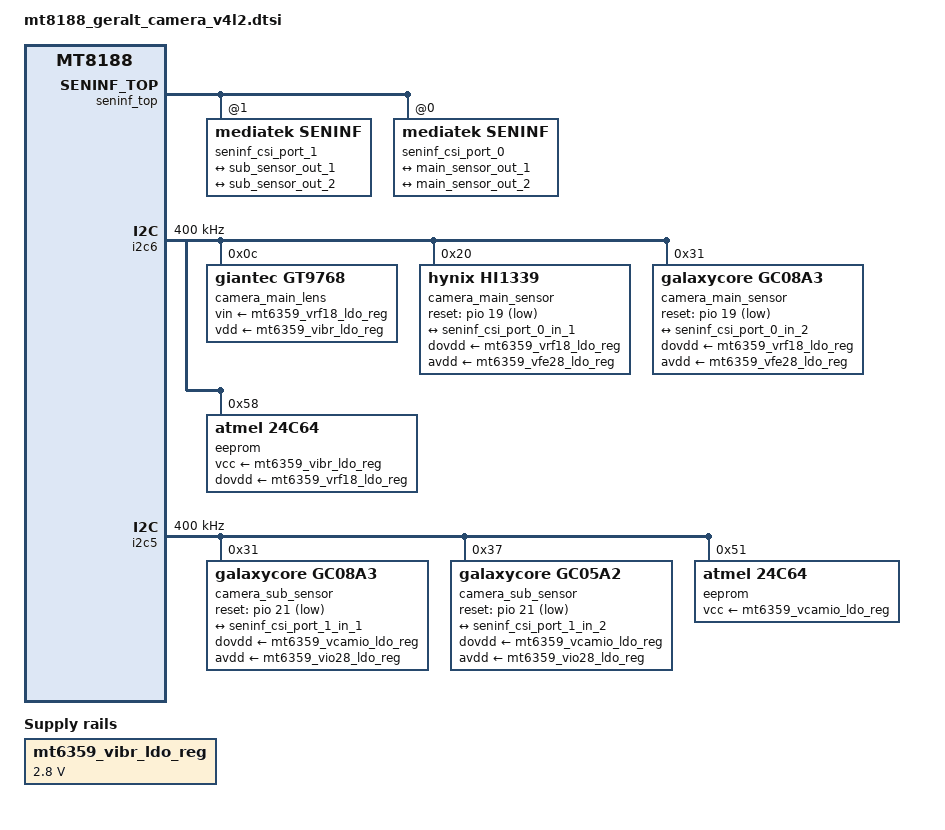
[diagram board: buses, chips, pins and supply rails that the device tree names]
// SPDX-License-Identifier: GPL-2.0
/* Copyright (c) 2020 MediaTek Inc. */

//#include <dt-bindings/clock/mt8188-clk.h>
#include <dt-bindings/gpio/gpio.h>

#define V4L2_FWNODE_BUS_TYPE_CSI2_CPHY 1
#define V4L2_FWNODE_BUS_TYPE_CSI2_DPHY 4

#define HI1339_GT9768  1
#define GC08A3_GT9769  0

&seninf_top {
		seninf_csi_port_1: csi_receiver@1 {
			compatible = "mediatek,seninf";
			hs_trail_parameter = <0x28>;
			csi-port = "1";
			port {
				seninf_csi_port_1_in_1: endpoint {
					data-lanes = <1 2 3 4>;
					remote-endpoint = <&sub_sensor_out_1>;
				};
				seninf_csi_port_1_in_2: endpoint@2 {
					data-lanes = <1 4>;
					remote-endpoint = <&sub_sensor_out_2>;
				};
			};
		};
		seninf_csi_port_0: csi_receiver@0 {
			compatible = "mediatek,seninf";
			csi-port = "0";
			port {
				seninf_csi_port_0_in_1: endpoint {
					data-lanes = <1 2 3 4>;
					remote-endpoint = <&main_sensor_out_1>;
				};
				seninf_csi_port_0_in_2: endpoint@2 {
					data-lanes = <1 2 3 4>;
					remote-endpoint = <&main_sensor_out_2>;
				};
			};
		};
};

&pio {
	camera_pins_cam1: cam1@1 {
		pins_cmd_dat {
			pinmux = <PINMUX_GPIO23__FUNC_O_CMMCLK1>;
			drive-strength = <MTK_DRIVE_2mA>;
		};
		pins_dvdd_en {
			pinmux = <PINMUX_GPIO140__FUNC_B_GPIO140>;
			output-high;
		};
	};

	camera_pins_cam0: cam0@0 {
		pins_cmd_dat {
			pinmux = <PINMUX_GPIO22__FUNC_O_CMMCLK0>;
			drive-strength = <MTK_DRIVE_2mA>;
		};
		pins_dvdd_en {
			pinmux = <PINMUX_GPIO142__FUNC_B_GPIO142>;
			output-high;
		};
	};
};

&mt6359_vibr_ldo_reg {
	regulator-min-microvolt = <2800000>;
	regulator-max-microvolt = <2800000>;
};

&i2c6 {
	status = "okay";
	clock-frequency = <400000>;

    //================================================
#if HI1339_GT9768
	camera_main_lens: vcm@0c {
		compatible = "giantec,gt9768";
		reg = <0x0c>;

		vin-supply = <&mt6359_vrf18_ldo_reg>;
		vdd-supply = <&mt6359_vibr_ldo_reg>;
	};
#endif

	camera_main_sensor@20 {
		compatible = "hynix,hi1339";
		reg = <0x20>;

		clocks = <&topckgen CLK_TOP_CAMTG>;

		reset-gpios = <&pio 19 GPIO_ACTIVE_LOW>;

		pinctrl-names = "default";
		pinctrl-0 = <&camera_pins_cam0>;

		dovdd-supply = <&mt6359_vrf18_ldo_reg>;
		avdd-supply = <&mt6359_vfe28_ldo_reg>;

#if HI1339_GT9768
		lens-focus = <&camera_main_lens>;
#endif

		port {
			main_sensor_out_1: endpoint {
				bus-type = <V4L2_FWNODE_BUS_TYPE_CSI2_DPHY>;
				data-lanes = <1 2 3 4>;
				link-frequencies =
					/bits/ 64 <1440000000 624000000>;
				remote-endpoint = <&seninf_csi_port_0_in_1>;
			};
		};
	};
    //================================================

    //================================================
#if GC08A3_GT9769
	camera_main_lens: vcm@0c {
		compatible = "giantec,gt9769";
		reg = <0x0c>;

		vin-supply = <&mt6359_vrf18_ldo_reg>;
		vdd-supply = <&mt6359_vibr_ldo_reg>;
	};
#endif

	camera_main_sensor@31 {
		compatible = "galaxycore,gc08a3";
		reg = <0x31>;

		clocks = <&topckgen CLK_TOP_CAMTG>;

		reset-gpios = <&pio 19 GPIO_ACTIVE_LOW>;

		pinctrl-names = "default";
		pinctrl-0 = <&camera_pins_cam0>;

		dovdd-supply = <&mt6359_vrf18_ldo_reg>;
		avdd-supply = <&mt6359_vfe28_ldo_reg>;

#if GC08A3_GT9769
		lens-focus = <&camera_main_lens>;
#endif
		port {
			main_sensor_out_2: endpoint {
				bus-type = <V4L2_FWNODE_BUS_TYPE_CSI2_DPHY>;
				data-lanes = <1 2 3 4>;
				link-frequencies =
					/bits/ 64 <336000000 207000000>;
				remote-endpoint = <&seninf_csi_port_0_in_2>;
			};
		};
	};
    //================================================

	eeprom@58 {
		compatible = "atmel,24c64";
		reg = <0x58>;
		pagesize = <32>;
		vcc-supply = <&mt6359_vibr_ldo_reg>;
		dovdd-supply = <&mt6359_vrf18_ldo_reg>;
		device-id = <0>;
	};
};

&i2c5 {
	status = "okay";
	clock-frequency = <400000>;

    //================================================
	camera_sub_sensor@31 {
		compatible = "galaxycore,gc08a3";
		reg = <0x31>;

		clocks = <&topckgen CLK_TOP_CAMTG2>;

		reset-gpios = <&pio 21 GPIO_ACTIVE_LOW>;

		pinctrl-names = "default";
		pinctrl-0 = <&camera_pins_cam1>;

		dovdd-supply = <&mt6359_vcamio_ldo_reg>;
		avdd-supply = <&mt6359_vio28_ldo_reg>;

		port {
			sub_sensor_out_1: endpoint {
				bus-type = <V4L2_FWNODE_BUS_TYPE_CSI2_DPHY>;
				data-lanes = <1 2 3 4>;
				link-frequencies =
					/bits/ 64 <336000000 207000000>;
				remote-endpoint = <&seninf_csi_port_1_in_1>;
			};
		};
	};
    //================================================

    //================================================
	camera_sub_sensor@37 {
		compatible =  "galaxycore,gc05a2";
		reg = <0x37>;

		clocks = <&topckgen CLK_TOP_CAMTG2>;

		reset-gpios = <&pio 21 GPIO_ACTIVE_LOW>;

		pinctrl-names = "default";
		pinctrl-0 = <&camera_pins_cam1>;

		dovdd-supply = <&mt6359_vcamio_ldo_reg>;
		avdd-supply = <&mt6359_vio28_ldo_reg>;

		port {
			sub_sensor_out_2: endpoint {
				bus-type = <V4L2_FWNODE_BUS_TYPE_CSI2_DPHY>;
				data-lanes = <1 4>;
				link-frequencies =
					/bits/ 64 <448000000 224000000>;
				remote-endpoint = <&seninf_csi_port_1_in_2>;
			};
		};
	};
    //================================================

	eeprom@51 {
		compatible = "atmel,24c64";
		reg = <0x51>;
		pagesize = <32>;
		vcc-supply = <&mt6359_vcamio_ldo_reg>;
		device-id = <0>;
	};
};

